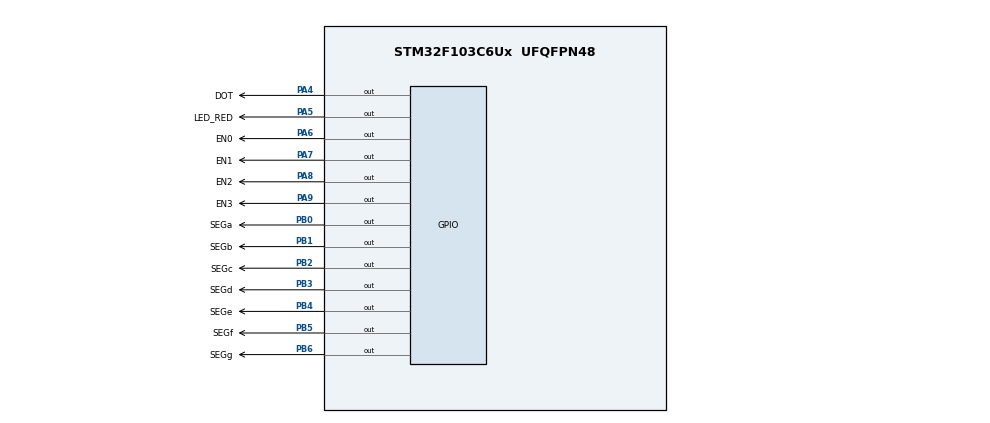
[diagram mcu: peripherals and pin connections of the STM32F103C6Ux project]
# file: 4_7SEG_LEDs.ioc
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Mcu.Family=STM32F1
Mcu.Name=STM32F103C6Ux
Mcu.Package=UFQFPN48
NVIC.PriorityGroup=NVIC_PRIORITYGROUP_4
NVIC.TIM2_IRQn=true\:0\:0\:false\:false\:true\:true\:true
PA4.GPIO_Label=DOT
PA4.Signal=GPIO_Output
PA5.GPIO_Label=LED_RED
PA5.Signal=GPIO_Output
PA6.GPIO_Label=EN0
PA6.Signal=GPIO_Output
PA7.GPIO_Label=EN1
PA7.Signal=GPIO_Output
PA8.GPIO_Label=EN2
PA8.Signal=GPIO_Output
PA9.GPIO_Label=EN3
PA9.Signal=GPIO_Output
PB0.GPIO_Label=SEGa
PB0.Signal=GPIO_Output
PB1.GPIO_Label=SEGb
PB1.Signal=GPIO_Output
PB2.GPIO_Label=SEGc
PB2.Signal=GPIO_Output
PB3.GPIO_Label=SEGd
PB3.Signal=GPIO_Output
PB4.GPIO_Label=SEGe
PB4.Signal=GPIO_Output
PB5.GPIO_Label=SEGf
PB5.Signal=GPIO_Output
PB6.GPIO_Label=SEGg
PB6.Signal=GPIO_Output
ProjectManager.HeapSize=0x200
ProjectManager.StackSize=0x400
ProjectManager.TargetToolchain=STM32CubeIDE
RCC.APB1Freq_Value=8000000
RCC.APB2Freq_Value=8000000
TIM2.Period=9
TIM2.Prescaler=7999
VP_SYS_VS_ND.Mode=No_Debug
VP_TIM2_VS_ClockSourceINT.Mode=Internal
board=custom

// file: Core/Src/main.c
/* USER CODE BEGIN Header */
/**
  ******************************************************************************
  * @file           : main.c
  * @brief          : Main program body
  ******************************************************************************
  * @attention
  *
  * <h2><center>&copy; Copyright (c) 2023 STMicroelectronics.
  * All rights reserved.</center></h2>
  *
  * This software component is licensed by ST under BSD 3-Clause license,
  * the "License"; You may not use this file except in compliance with the
  * License. You may obtain a copy of the License at:
  *                        opensource.org/licenses/BSD-3-Clause
  *
  ******************************************************************************
  */
/* USER CODE END Header */
#include "main.h"

/* USER CODE BEGIN Includes */
#include "software_timer.h"
/* USER CODE END Includes */

TIM_HandleTypeDef htim2;

void SystemClock_Config(void);
static void MX_GPIO_Init(void);
static void MX_TIM2_Init(void);

/* USER CODE BEGIN 0 */
void display7SEG(int num){
	const uint8_t sevenSegment[10] = {	0b00111111, // 0
										0b00000110, // 1
										0b01011011, // 2
										0b01001111, // 3
										0b01100110, // 4
										0b01101101, // 5
										0b01111101, // 6
										0b00000111, // 7
										0b01111111, // 8
										0b01101111  // 9
	};
	HAL_GPIO_WritePin(SEGa_GPIO_Port, SEGa_Pin, ((sevenSegment[num]) & 0x01) ? RESET : SET);
	HAL_GPIO_WritePin(SEGb_GPIO_Port, SEGb_Pin, ((sevenSegment[num] >> 1) & 0x01) ? RESET : SET);
	HAL_GPIO_WritePin(SEGc_GPIO_Port, SEGc_Pin, ((sevenSegment[num] >> 2) & 0x01) ? RESET : SET);
	HAL_GPIO_WritePin(SEGd_GPIO_Port, SEGd_Pin, ((sevenSegment[num] >> 3) & 0x01) ? RESET : SET);
	HAL_GPIO_WritePin(SEGe_GPIO_Port, SEGe_Pin, ((sevenSegment[num] >> 4) & 0x01) ? RESET : SET);
	HAL_GPIO_WritePin(SEGf_GPIO_Port, SEGf_Pin, ((sevenSegment[num] >> 5) & 0x01) ? RESET : SET);
	HAL_GPIO_WritePin(SEGg_GPIO_Port, SEGg_Pin, ((sevenSegment[num] >> 6) & 0x01) ? RESET : SET);
}
/* USER CODE END 0 */

int main(void)
{

  /* MCU Configuration--------------------------------------------------------*/

  /* Reset of all peripherals, Initializes the Flash interface and the Systick. */
  HAL_Init();

  /* Configure the system clock */
  SystemClock_Config();

  /* Initialize all configured peripherals */
  MX_GPIO_Init();
  MX_TIM2_Init();
  /* USER CODE BEGIN 2 */
  HAL_TIM_Base_Start_IT(&htim2);
  /* USER CODE END 2 */

  /* Infinite loop */
  /* USER CODE BEGIN WHILE */
  setTimer1(10);
  setTimer2(10);
  int state = 1;
  while (1)
  {
    /* USER CODE END WHILE */

    /* USER CODE BEGIN 3 */
	  if(timer1_flag == 1){
		  setTimer1(500);
		  switch(state){
		  case 1:
			  HAL_GPIO_WritePin(EN0_GPIO_Port, EN0_Pin, RESET);
			  HAL_GPIO_WritePin(EN1_GPIO_Port, EN1_Pin, SET);
			  HAL_GPIO_WritePin(EN2_GPIO_Port, EN2_Pin, SET);
			  HAL_GPIO_WritePin(EN3_GPIO_Port, EN3_Pin, SET);
			  display7SEG(1);
			  state = 2;
			  break;
		  case 2:
			  HAL_GPIO_WritePin(EN0_GPIO_Port, EN0_Pin, SET);
			  HAL_GPIO_WritePin(EN1_GPIO_Port, EN1_Pin, RESET);
			  HAL_GPIO_WritePin(EN2_GPIO_Port, EN2_Pin, SET);
			  HAL_GPIO_WritePin(EN3_GPIO_Port, EN3_Pin, SET);
			  display7SEG(2);
			  state = 3;
			  break;
		  case 3:
			  HAL_GPIO_WritePin(EN0_GPIO_Port, EN0_Pin, SET);
			  HAL_GPIO_WritePin(EN1_GPIO_Port, EN1_Pin, SET);
			  HAL_GPIO_WritePin(EN2_GPIO_Port, EN2_Pin, RESET);
			  HAL_GPIO_WritePin(EN3_GPIO_Port, EN3_Pin, SET);
			  display7SEG(3);
			  state = 0;
			  break;
		  case 0:
			  HAL_GPIO_WritePin(EN0_GPIO_Port, EN0_Pin, SET);
			  HAL_GPIO_WritePin(EN1_GPIO_Port, EN1_Pin, SET);
			  HAL_GPIO_WritePin(EN2_GPIO_Port, EN2_Pin, SET);
			  HAL_GPIO_WritePin(EN3_GPIO_Port, EN3_Pin, RESET);
			  display7SEG(0);
			  state = 1;
			  break;
		  default:
			  break;
		  }
	  }
	  if(timer2_flag == 1){
		  setTimer2(1000);
		  HAL_GPIO_TogglePin(DOT_GPIO_Port, DOT_Pin);
	  }
  }
  /* USER CODE END 3 */
}

void SystemClock_Config(void)
{
  RCC_OscInitTypeDef RCC_OscInitStruct = {0};
  RCC_ClkInitTypeDef RCC_ClkInitStruct = {0};

  /** Initializes the RCC Oscillators according to the specified parameters
  * in the RCC_OscInitTypeDef structure.
  */
  RCC_OscInitStruct.OscillatorType = RCC_OSCILLATORTYPE_HSI;
  RCC_OscInitStruct.HSIState = RCC_HSI_ON;
  RCC_OscInitStruct.HSICalibrationValue = RCC_HSICALIBRATION_DEFAULT;
  RCC_OscInitStruct.PLL.PLLState = RCC_PLL_NONE;
  if (HAL_RCC_OscConfig(&RCC_OscInitStruct) != HAL_OK)
  {
    Error_Handler();
  }
  /** Initializes the CPU, AHB and APB buses clocks
  */
  RCC_ClkInitStruct.ClockType = RCC_CLOCKTYPE_HCLK|RCC_CLOCKTYPE_SYSCLK
                              |RCC_CLOCKTYPE_PCLK1|RCC_CLOCKTYPE_PCLK2;
  RCC_ClkInitStruct.SYSCLKSource = RCC_SYSCLKSOURCE_HSI;
  RCC_ClkInitStruct.AHBCLKDivider = RCC_SYSCLK_DIV1;
  RCC_ClkInitStruct.APB1CLKDivider = RCC_HCLK_DIV1;
  RCC_ClkInitStruct.APB2CLKDivider = RCC_HCLK_DIV1;

  if (HAL_RCC_ClockConfig(&RCC_ClkInitStruct, FLASH_LATENCY_0) != HAL_OK)
  {
    Error_Handler();
  }
}

static void MX_TIM2_Init(void)
{

  TIM_ClockConfigTypeDef sClockSourceConfig = {0};
  TIM_MasterConfigTypeDef sMasterConfig = {0};

  htim2.Instance = TIM2;
  htim2.Init.Prescaler = 7999;
  htim2.Init.CounterMode = TIM_COUNTERMODE_UP;
  htim2.Init.Period = 9;
  htim2.Init.ClockDivision = TIM_CLOCKDIVISION_DIV1;
  htim2.Init.AutoReloadPreload = TIM_AUTORELOAD_PRELOAD_DISABLE;
  if (HAL_TIM_Base_Init(&htim2) != HAL_OK)
  {
    Error_Handler();
  }
  sClockSourceConfig.ClockSource = TIM_CLOCKSOURCE_INTERNAL;
  if (HAL_TIM_ConfigClockSource(&htim2, &sClockSourceConfig) != HAL_OK)
  {
    Error_Handler();
  }
  sMasterConfig.MasterOutputTrigger = TIM_TRGO_RESET;
  sMasterConfig.MasterSlaveMode = TIM_MASTERSLAVEMODE_DISABLE;
  if (HAL_TIMEx_MasterConfigSynchronization(&htim2, &sMasterConfig) != HAL_OK)
  {
    Error_Handler();
  }

}

static void MX_GPIO_Init(void)
{
  GPIO_InitTypeDef GPIO_InitStruct = {0};

  /* GPIO Ports Clock Enable */
  __HAL_RCC_GPIOA_CLK_ENABLE();
  __HAL_RCC_GPIOB_CLK_ENABLE();

  /*Configure GPIO pin Output Level */
  HAL_GPIO_WritePin(GPIOA, DOT_Pin|LED_RED_Pin|EN0_Pin|EN1_Pin
                          |EN2_Pin|EN3_Pin, GPIO_PIN_RESET);

  /*Configure GPIO pin Output Level */
  HAL_GPIO_WritePin(GPIOB, SEGa_Pin|SEGb_Pin|SEGc_Pin|SEGd_Pin
                          |SEGe_Pin|SEGf_Pin|SEGg_Pin, GPIO_PIN_RESET);

  /*Configure GPIO pins : DOT_Pin LED_RED_Pin EN0_Pin EN1_Pin
                           EN2_Pin EN3_Pin */
  GPIO_InitStruct.Pin = DOT_Pin|LED_RED_Pin|EN0_Pin|EN1_Pin
                          |EN2_Pin|EN3_Pin;
  GPIO_InitStruct.Mode = GPIO_MODE_OUTPUT_PP;
  GPIO_InitStruct.Pull = GPIO_NOPULL;
  GPIO_InitStruct.Speed = GPIO_SPEED_FREQ_LOW;
  HAL_GPIO_Init(GPIOA, &GPIO_InitStruct);

  /*Configure GPIO pins : SEGa_Pin SEGb_Pin SEGc_Pin SEGd_Pin
                           SEGe_Pin SEGf_Pin SEGg_Pin */
  GPIO_InitStruct.Pin = SEGa_Pin|SEGb_Pin|SEGc_Pin|SEGd_Pin
                          |SEGe_Pin|SEGf_Pin|SEGg_Pin;
  GPIO_InitStruct.Mode = GPIO_MODE_OUTPUT_PP;
  GPIO_InitStruct.Pull = GPIO_NOPULL;
  GPIO_InitStruct.Speed = GPIO_SPEED_FREQ_LOW;
  HAL_GPIO_Init(GPIOB, &GPIO_InitStruct);

}

/* USER CODE BEGIN 4 */
//int counter1 = 0, counter2 = 0, state = 1;
void HAL_TIM_PeriodElapsedCallback(TIM_HandleTypeDef *htim){
	timerRun();
//	counter1--;
//	if(counter1 <= 0){
//		counter1 = 50;
//		switch(state){
//		case 1:
//		  HAL_GPIO_WritePin(EN0_GPIO_Port, EN0_Pin, RESET);
//		  HAL_GPIO_WritePin(EN1_GPIO_Port, EN1_Pin, SET);
//		  HAL_GPIO_WritePin(EN2_GPIO_Port, EN2_Pin, SET);
//		  HAL_GPIO_WritePin(EN3_GPIO_Port, EN3_Pin, SET);
//		  display7SEG(1);
//		  state = 2;
//		  break;
//		case 2:
//		  HAL_GPIO_WritePin(EN0_GPIO_Port, EN0_Pin, SET);
//		  HAL_GPIO_WritePin(EN1_GPIO_Port, EN1_Pin, RESET);
//		  HAL_GPIO_WritePin(EN2_GPIO_Port, EN2_Pin, SET);
//		  HAL_GPIO_WritePin(EN3_GPIO_Port, EN3_Pin, SET);
//		  display7SEG(2);
//		  state = 3;
//		  break;
//		case 3:
//		  HAL_GPIO_WritePin(EN0_GPIO_Port, EN0_Pin, SET);
//		  HAL_GPIO_WritePin(EN1_GPIO_Port, EN1_Pin, SET);
//		  HAL_GPIO_WritePin(EN2_GPIO_Port, EN2_Pin, RESET);
//		  HAL_GPIO_WritePin(EN3_GPIO_Port, EN3_Pin, SET);
//		  display7SEG(3);
//		  state = 0;
//		  break;
//		case 0:
//		  HAL_GPIO_WritePin(EN0_GPIO_Port, EN0_Pin, SET);
//		  HAL_GPIO_WritePin(EN1_GPIO_Port, EN1_Pin, SET);
//		  HAL_GPIO_WritePin(EN2_GPIO_Port, EN2_Pin, SET);
//		  HAL_GPIO_WritePin(EN3_GPIO_Port, EN3_Pin, RESET);
//		  display7SEG(0);
//		  state = 1;
//		  break;
//		default:
//		  break;
//		}
//	  }
//	counter2--;
//	if(counter2 <= 0){
//		counter2 = 100;
//		HAL_GPIO_TogglePin(DOT_GPIO_Port, DOT_Pin);
//	}
}
/* USER CODE END 4 */

void Error_Handler(void)
{
  __disable_irq();
  while (1)
  {
  }
}

/************************ (C) COPYRIGHT STMicroelectronics *****END OF FILE****/
